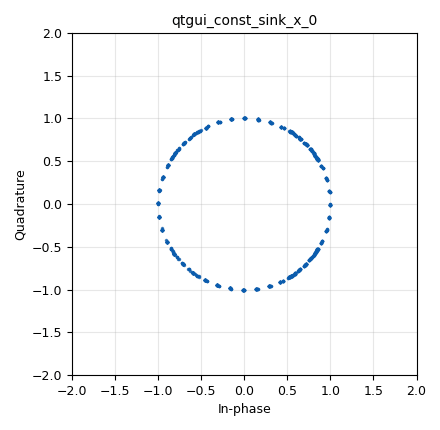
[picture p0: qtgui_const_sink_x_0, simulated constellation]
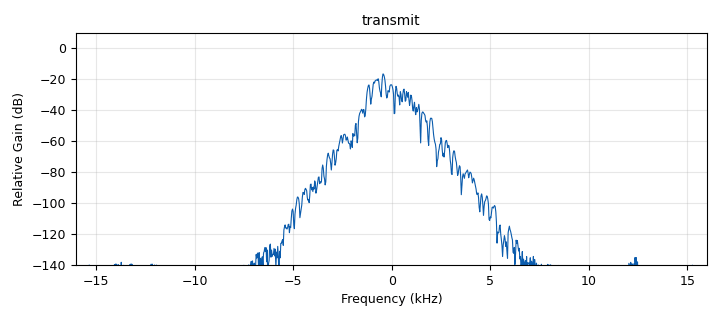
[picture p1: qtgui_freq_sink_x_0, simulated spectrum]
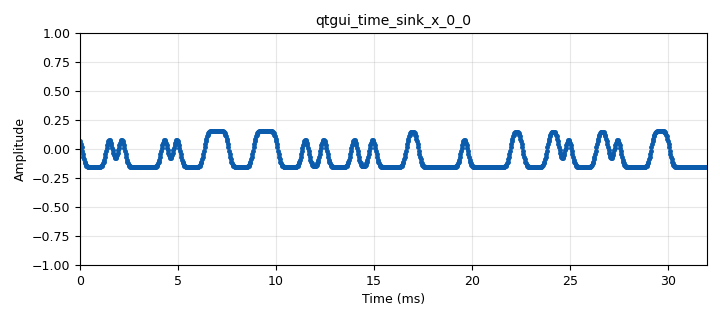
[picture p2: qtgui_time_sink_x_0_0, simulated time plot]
options:
  parameters:
    author: mettus
    category: Custom
    generate_options: qt_gui
    id: demo_gmsk
    output_language: python
  states: {}

blocks:
- name: SNR
  id: variable_qtgui_range
  parameters:
    gui_hint: 0,0
    start: '-5'
    step: '1'
    stop: '15'
    value: '15'
  states: {state: disabled}
- name: beta
  id: variable_qtgui_range
  parameters:
    gui_hint: 3,0,1,1
    label: k3 (IP3)
    start: '-.1'
    step: '0.001'
    stop: '0'
    value: '0'
  states: {}
- name: const_size
  id: variable
  parameters:
    value: '4'
  states: {}
- name: device
  id: variable
  parameters:
    value: '"device_4"'
  states: {}
- name: freq_offset
  id: variable_qtgui_range
  parameters:
    gui_hint: 0,1,1,1
    label: Frequency Offset
    start: '-0.5'
    step: '0.001'
    stop: '0.5'
    value: '0'
  states: {}
- name: gain_range
  id: variable_qtgui_range
  parameters:
    gui_hint: 4,0
    start: '0'
    step: '10'
    stop: '50'
    value: '40'
  states: {state: disabled}
- name: i_ofs
  id: variable_qtgui_range
  parameters:
    gui_hint: 2,0,1,1
    label: I offset
    start: '-1'
    step: '0.001'
    stop: '1'
    value: '0'
  states: {}
- name: magbal
  id: variable_qtgui_range
  parameters:
    gui_hint: 1,0,1,1
    label: IQ Magnitude Imbalance
    start: '0'
    step: '0.1'
    stop: '10'
    value: '0'
  states: {}
- name: noise_power
  id: variable
  parameters:
    value: signal_power/pow(10, SNR/10)
  states: {state: disabled}
- name: phase_noise_mag
  id: variable_qtgui_range
  parameters:
    gui_hint: 0, 0, 1,1
    label: Phase Noise Mag (dB)
    start: '-100'
    step: '1'
    stop: '0'
    value: '-100'
  states: {}
- name: phasebal
  id: variable_qtgui_range
  parameters:
    gui_hint: 1,1,1,1
    label: IQ Phase Imbalance
    start: '0'
    step: '0.1'
    stop: '45'
    value: '0'
  states: {}
- name: pri
  id: variable_qtgui_range
  parameters:
    gui_hint: 1,0
    start: '0'
    step: '10e-6'
    stop: '1e-3'
    value: '200e-6'
  states: {state: disabled}
- name: pw
  id: variable_qtgui_range
  parameters:
    gui_hint: 2,0
    start: '0'
    step: '1e-6'
    stop: '500e-6'
    value: '100e-6'
  states: {state: disabled}
- name: q_ofs
  id: variable_qtgui_range
  parameters:
    gui_hint: 2,1,1,1
    label: Q offset
    start: '-1'
    step: '0.001'
    stop: '1'
    value: '0'
  states: {}
- name: rf_freq
  id: variable
  parameters:
    value: 1e9
  states: {}
- name: samp_rate
  id: variable
  parameters:
    value: '32000'
  states: {}
- name: signal_power
  id: variable
  parameters:
    value: '0.5'
  states: {state: disabled}
- name: analog_agc_xx_0
  id: analog_agc_xx
  parameters:
    gain: '1.0'
    max_gain: '65536'
    rate: '1e-4'
    reference: '1.0'
    type: complex
  states: {state: disabled}
- name: analog_quadrature_demod_cf_0
  id: analog_quadrature_demod_cf
  parameters:
    gain: '1.0'
  states: {}
- name: analog_random_source_x_0
  id: analog_random_source_x
  parameters:
    max: '16'
    min: '0'
    num_samps: '100000'
    repeat: 'True'
    type: byte
  states: {}
- name: blocks_file_sink_0
  id: blocks_file_sink
  parameters:
    file: '"/home/zhouzinan/Documents/IndividualRadar/dataset_grc/all_mod_3.0/QFSK_BPSK/{}".format(device)'
    type: complex
  states: {state: disabled}
- name: blocks_head_0
  id: blocks_head
  parameters:
    num_items: int(samp_rate/10)
    type: complex
  states: {state: disabled}
- name: blocks_multiply_const_vxx_0
  id: blocks_multiply_const_vxx
  parameters:
    const: 1/2
    type: complex
  states: {state: disabled}
- name: blocks_skiphead_0
  id: blocks_skiphead
  parameters:
    num_items: int(samp_rate/5)
    type: complex
  states: {state: disabled}
- name: blocks_throttle2_0
  id: blocks_throttle2
  parameters:
    samples_per_second: samp_rate
    type: complex
  states: {}
- name: channels_impairments_0
  id: channels_impairments
  parameters:
    beta: beta
    freq_offset: freq_offset
    gamma: '0'
    i_ofs: i_ofs
    magbal: magbal
    phase_noise_mag: phase_noise_mag
    phasebal: phasebal
    q_ofs: q_ofs
  states: {}
- name: device_0
  id: parameter
  parameters:
    value: '"232057"'
  states: {state: disabled}
- name: device_1
  id: parameter
  parameters:
    value: '"8243c3"'
  states: {state: disabled}
- name: device_2
  id: parameter
  parameters:
    value: '"90a7c7"'
  states: {state: disabled}
- name: device_3
  id: parameter
  parameters:
    value: '"4a0a4f"'
  states: {state: disabled}
- name: device_4
  id: parameter
  parameters:
    value: '"24644f"'
  states: {}
- name: device_5
  id: parameter
  parameters:
    value: '"6f2e4f"'
  states: {state: disabled}
- name: device_6
  id: parameter
  parameters:
    value: '"53454f"'
  states: {state: disabled}
- name: digital_gmsk_mod_0
  id: digital_gmsk_mod
  parameters:
    bt: '0.3'
    samples_per_symbol: '10'
  states: {}
- name: import_0
  id: import
  parameters:
    imports: 'import math '
  states: {}
- name: osmosdr_sink_0
  id: osmosdr_sink
  parameters:
    args: '"hackrf={}".format(eval(device))'
    bb_gain0: '20'
    freq0: rf_freq
    gain0: '11'
    if_gain0: '47'
    sample_rate: samp_rate
    sync: sync
    type: fc32
  states: {}
- name: qtgui_const_sink_x_0
  id: qtgui_const_sink_x
  parameters:
    gui_hint: 4,0,1,1
    name: ''
    size: '1024'
    type: complex
  states: {}
- name: qtgui_freq_sink_x_0
  id: qtgui_freq_sink_x
  parameters:
    bw: samp_rate
    fc: '0'
    fftsize: '1024'
    name: '"transmit"'
    type: complex
  states: {}
- name: qtgui_freq_sink_x_1
  id: qtgui_freq_sink_x
  parameters:
    bw: samp_rate
    fc: '0'
    fftsize: 1024*4
    name: '"receive"'
    type: complex
  states: {state: disabled}
- name: qtgui_time_sink_x_0_0
  id: qtgui_time_sink_x
  parameters:
    gui_hint: 4,1,1,1
    marker1: '1'
    name: ''
    size: '1024'
    srate: samp_rate
    type: float
  states: {}
- name: qtgui_time_sink_x_1
  id: qtgui_time_sink_x
  parameters:
    name: '"receive"'
    size: '10240'
    srate: samp_rate
    type: complex
  states: {state: disabled}
- name: qtgui_waterfall_sink_x_0
  id: qtgui_waterfall_sink_x
  parameters:
    bw: samp_rate
    fc: '0'
    fftsize: '1024'
    name: '"receive"'
    type: complex
  states: {state: disabled}
- name: uhd_usrp_source_0
  id: uhd_usrp_source
  parameters:
    ant0: TX/RX
    center_freq0: rf_freq
    dev_args: '""'
    gain0: '40'
    samp_rate: samp_rate
    sync: sync
    type: fc32
  states: {state: disabled}

connections:
- [analog_agc_xx_0, '0', blocks_multiply_const_vxx_0, '0']
- [analog_quadrature_demod_cf_0, '0', qtgui_time_sink_x_0_0, '0']
- [analog_random_source_x_0, '0', digital_gmsk_mod_0, '0']
- [blocks_head_0, '0', blocks_file_sink_0, '0']
- [blocks_multiply_const_vxx_0, '0', blocks_skiphead_0, '0']
- [blocks_multiply_const_vxx_0, '0', qtgui_freq_sink_x_1, '0']
- [blocks_multiply_const_vxx_0, '0', qtgui_time_sink_x_1, '0']
- [blocks_multiply_const_vxx_0, '0', qtgui_waterfall_sink_x_0, '0']
- [blocks_skiphead_0, '0', blocks_head_0, '0']
- [blocks_throttle2_0, '0', channels_impairments_0, '0']
- [channels_impairments_0, '0', analog_quadrature_demod_cf_0, '0']
- [channels_impairments_0, '0', osmosdr_sink_0, '0']
- [channels_impairments_0, '0', qtgui_const_sink_x_0, '0']
- [channels_impairments_0, '0', qtgui_freq_sink_x_0, '0']
- [digital_gmsk_mod_0, '0', blocks_throttle2_0, '0']
- [uhd_usrp_source_0, '0', analog_agc_xx_0, '0']

metadata:
  file_format: 1
  grc_version: 3.10.6.0
